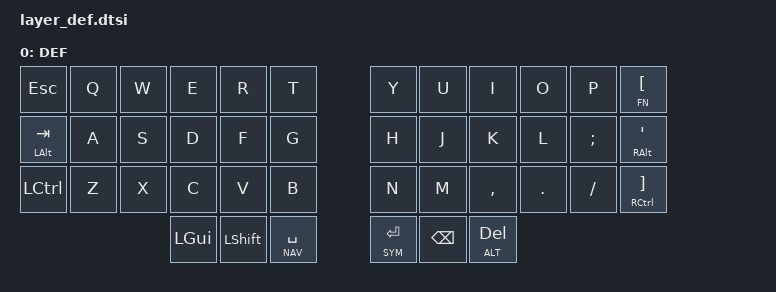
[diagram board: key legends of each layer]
/**
 * Default Layer - QWERTY
 */

/ {
    keymap {
        compatible = "zmk,keymap";

        def_layer {
            display-name = "DEF";
            bindings = <
// ╭───────────────┬───────────────┬───────────────┬───────────────┬───────────────┬───────────────╮   ╭───────────────┬───────────────┬───────────────┬───────────────┬───────────────┬───────────────╮
// │0              │1          q й │2          w ц │3          e у │4          r к │5         t к  │   │6              │7              │8              │9              │10             │11         [ х │
    &kp ESC         &kp Q           &kp W           &kp E           &kp R           &kp T               &kp Y           &kp U           &kp I           &kp O           &kp P           &lt FN LBKT
// ├───────────────├───────────────┼───────────────┼───────────────┼───────────────┼───────────────┤   ├───────────────├───────────────┼───────────────┼───────────────┼───────────────┼───────────────┤
// │12             │13             │14             │15             │16             │17             │   │18             │19             │20             │21             │22         ~ ж │23           э │
    &mt LALT TAB    &kp A           &kp S           &kp D           &kp F           &kp G               &kp H           &kp J           &kp K           &kp L           &kp SEMI        &mt RALT SQT
// ├───────────────├───────────────┼───────────────┼───────────────┼───────────────┼───────────────┤   ├───────────────├───────────────┼───────────────┼───────────────┼───────────────┼───────────────┤
// │24             │25             │26             │27             │28             │29             │   │30             │31             │32           , │33           . │34         & ю │35         ] б │
    &kp LCTRL       &kp Z           &kp X           &kp C           &kp V           &kp B               &kp N           &kp M           &kp COMMA       &kp DOT         &kp FSLH        &mt RCTRL RBKT
// ╰───────────────┴───────────────┴───────────────┼───────────────┼───────────────┼───────────────┤   ├───────────────├───────────────┼───────────────┼───────────────┴───────────────┴───────────────╯
//                                                 │36             │37             │38             │   │39             │40             │41             │
                                                    &kp LGUI        &kp LSHFT       &lt NAV SPACE       &lt SYM ENTER   &kp BSPC        &lt ALT DEL
//                                                 ╰───────────────┴───────────────┴───────────────╯   ╰───────────────┴───────────────┴───────────────╯
            >;
        };
    };
};
